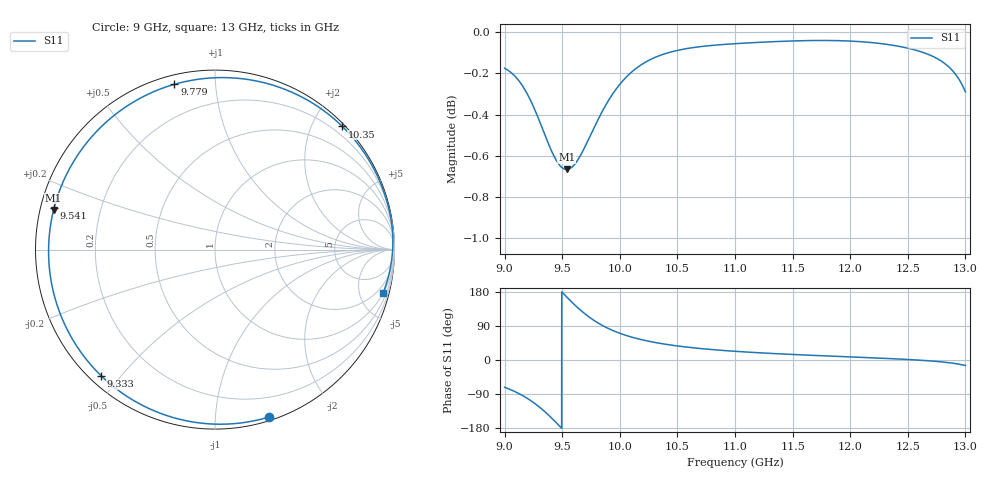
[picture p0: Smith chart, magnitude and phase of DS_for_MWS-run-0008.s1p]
! TOUCHSTONE file generated by CST DESIGN STUDIO
! Date and time: Tue Feb  4 15:43:10 2025
! Project name: C:\Work\MatlabApps\UnitCellOptimizationMatlab\CST\unitcell.cst
! Tree item: Tasks\Sweep1\SPara1\S-Parameters
! Header version: 2024
! Port assignment regex: !\s*Touchstone port\s*([0-9]+)\s*=\s*(CST MWS port|CST DES external port|CST DES block port)\s*(.+)\s* \(\"(.*)\"\)(\s*mode\s*([0-9]+))?.*
! Touchstone port assignment:
! Touchstone port 1 = CST DES external port 1 ("")
# GHz S MA R 50
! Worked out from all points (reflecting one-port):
!   4001 points, 9 GHz to 13 GHz, reference 50 ohm
!   lowest |S11| = -0.7 dB at 9.539 GHz (marker M1), VSWR 26.05, Z = 1.95 + j6.02 ohm
!   phase of S11 starts at -72 deg and turns -302 deg over the sweep
!   S11 on the Smith chart (normalised r, x): 9 GHz: 0.03, -1.38; 9.333 GHz: 0.03, -0.44; 9.541 GHz: 0.04, +0.13; 9.779 GHz: 0.04, +0.78; 10.35 GHz: 0.05, +2.47; 13 GHz: 1.04, -7.76
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9  0.9801 -72.0
9.09  0.9757 -83.4
9.193  0.9665 -100.5
9.266  0.957 -115.6
9.333  0.9468 -132.1
9.377  0.94 -144.1
9.423  0.9337 -157.7
9.462  0.9295 -169.7
9.5  0.9269 178.4
9.539  0.9261 166.2
9.541  0.9261 165.6
9.603  0.9284 147.0
9.66  0.9335 131.2
9.718  0.9404 116.9
9.779  0.9483 103.8
9.874  0.9596 87.1
10  0.9713 70.6
10.075  0.9764 62.9
10.157  0.9807 56.0
10.347  0.9871 44.0
10.5  0.9899 37.1
10.721  0.9921 29.7
11  0.9936 22.9
11.5  0.9951 14.6
12  0.9951 8.2
12.5  0.9911 1.4
12.798  0.9837 -5.1
13  0.9672 -14.4
